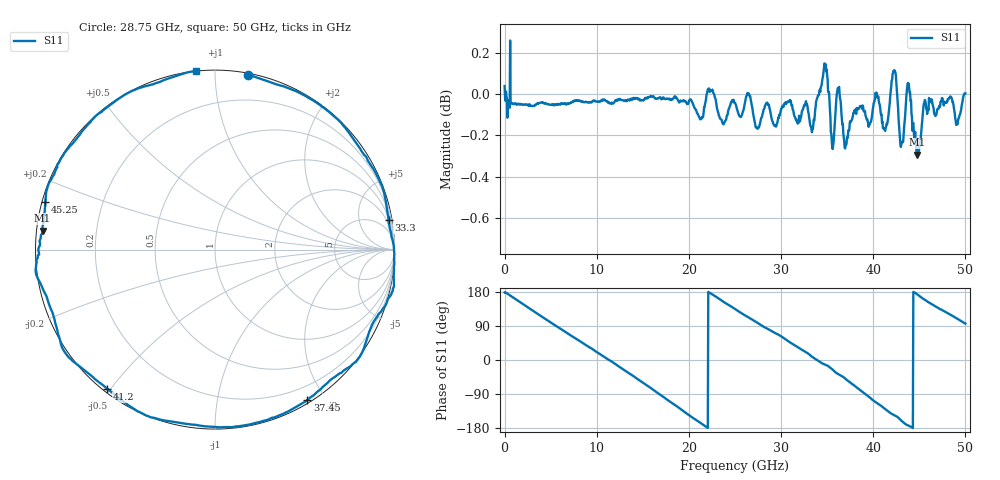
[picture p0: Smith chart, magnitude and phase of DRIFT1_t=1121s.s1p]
!Created with skrf (http://scikit-rf.org).
# Hz S RI R 50.0
!freq ReS11 ImS11
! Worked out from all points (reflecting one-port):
!   1001 points, 300 kHz to 50 GHz, reference 50 ohm
!   lowest |S11| = -0.3 dB at 44.75 GHz (marker M1), VSWR 59.21, Z = 0.847 + j2.75 ohm
!   phase of S11 starts at 178 deg and turns -802 deg over the sweep
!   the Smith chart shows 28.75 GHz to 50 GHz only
!   S11 on the Smith chart (normalised r, x): 28.75 GHz: 0.01, +1.20; 33.3 GHz: 1, +12; 37.45 GHz: 0.03, -1.79; 41.2 GHz: 0.01, -0.49; 45.25 GHz: 0.01, +0.14; 50 GHz: -0.00, +0.90
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300000  -1.004 0.029
1.70029e9  -0.8806 0.4625
3.550279e9  -0.5299 0.842
6.250262e9  0.1805 0.9782
7.950252e9  0.5977 0.7974
9.800241e9  0.9098 0.4062
1.250022e10  0.9439 -0.3209
1.400022e10  0.7313 -0.6792
1.59002e10  0.2636 -0.9636
1.73002e10  -0.1499 -0.9863
1.875019e10  -0.5464 -0.8343
2.025018e10  -0.8603 -0.5033
2.200017e10  -1.001 -0.0263
2.500015e10  -0.6996 0.7079
2.665014e10  -0.3408 0.9391
2.875013e10  0.1822 0.9753
3.125011e10  0.7336 0.6672
3.33001e10  0.9668 0.1636
3.500009e10  0.9773 -0.2573
3.745008e10  0.5148 -0.8386
3.750008e10  0.5011 -0.8482
3.920006e10  -0.00783 -0.9875
4.120005e10  -0.6006 -0.7751
4.375004e10  -0.9975 -0.1333
4.475003e10  -0.9609 0.1062
4.525003e10  -0.9456 0.263
4.735002e10  -0.6818 0.7257
5e10  -0.1044 0.995
